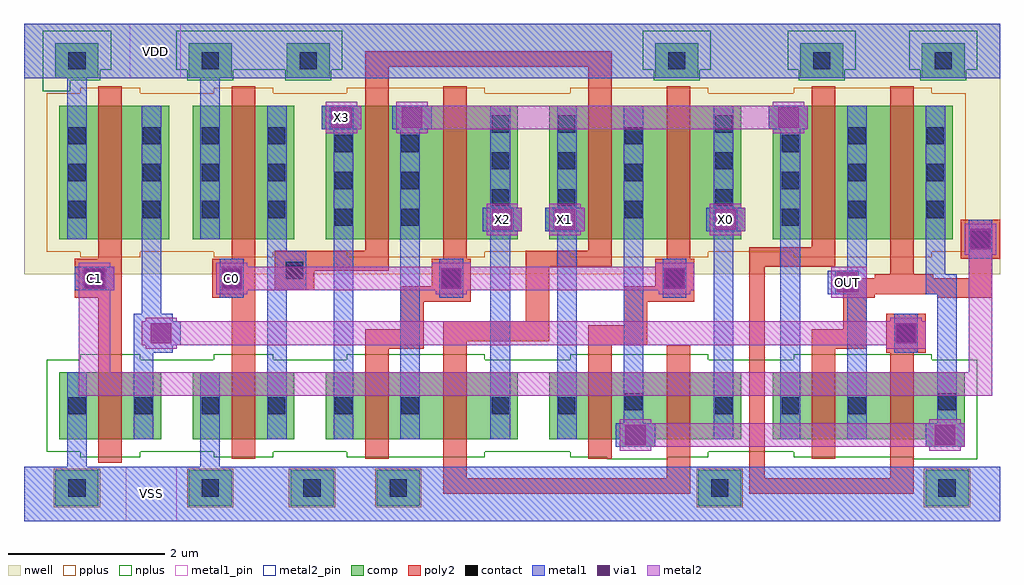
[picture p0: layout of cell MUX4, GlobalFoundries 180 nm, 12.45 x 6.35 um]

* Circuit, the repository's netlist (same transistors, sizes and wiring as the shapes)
* NGSPICE file created from MUX4.ext - technology: gf180mcuC

.subckt MUX4 OUT X0 X1 X3 X2 C1 C0 VDD VSS
X0 a_1160_210# C1 OUT VDD pfet_03v3 ad=0.85p pd=4.4u as=0.595p ps=2.4u w=1.7u l=0.3u
X1 X2 a_250_210# a_590_210# VSS nfet_03v3 ad=0.5525p pd=3u as=0.2975p ps=1.55u w=0.85u l=0.3u
X2 X0 a_250_210# a_1160_210# VSS nfet_03v3 ad=0.5525p pd=3u as=0.32p ps=1.65u w=0.85u l=0.3u
X3 X2 C0 a_590_210# VDD pfet_03v3 ad=1.12p pd=4.8u as=0.595p ps=2.4u w=1.7u l=0.3u
X4 a_n90_210# C1 VSS VSS nfet_03v3 ad=0.425p pd=2.7u as=0.425p ps=2.7u w=0.85u l=0.3u
X5 X0 C0 a_1160_210# VDD pfet_03v3 ad=1.12p pd=4.8u as=0.595p ps=2.4u w=1.7u l=0.3u
X6 a_250_210# C0 VSS VSS nfet_03v3 ad=0.425p pd=2.7u as=0.425p ps=2.7u w=0.85u l=0.3u
X7 OUT C1 a_590_210# VSS nfet_03v3 ad=0.2975p pd=1.55u as=0.425p ps=2.7u w=0.85u l=0.3u
X8 a_n90_210# C1 VDD VDD pfet_03v3 ad=1.02p pd=4.6u as=0.85p ps=4.4u w=1.7u l=0.3u
X9 a_250_210# C0 VDD VDD pfet_03v3 ad=0.85p pd=4.4u as=0.85p ps=4.4u w=1.7u l=0.3u
X10 OUT a_n90_210# a_590_210# VDD pfet_03v3 ad=0.595p pd=2.4u as=0.865p ps=4.5u w=1.7u l=0.3u
X11 a_590_210# C0 X3 VSS nfet_03v3 ad=0.2975p pd=1.55u as=0.425p ps=2.7u w=0.85u l=0.3u
X12 a_1160_210# C0 X1 VSS nfet_03v3 ad=0.32p pd=1.65u as=0.425p ps=2.7u w=0.85u l=0.3u
X13 a_590_210# a_250_210# X3 VDD pfet_03v3 ad=0.595p pd=2.4u as=0.865p ps=4.5u w=1.7u l=0.3u
X14 a_1160_210# a_n90_210# OUT VSS nfet_03v3 ad=0.6025p pd=3.2u as=0.2975p ps=1.55u w=0.85u l=0.3u
X15 a_1160_210# a_250_210# X1 VDD pfet_03v3 ad=0.595p pd=2.4u as=0.865p ps=4.5u w=1.7u l=0.3u
.ends

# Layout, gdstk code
import gdstk
lib = gdstk.Library(unit=1e-6, precision=1e-09)
def R(c, l, rs):  # rectangles x0, y0, x1, y1
    for r in rs: c.add(gdstk.rectangle(r[:2], r[2:], *l))
def A(c, l, x, y, w, h, nx, ny, dx, dy):  # array of equal rectangles
    R(c, l, [(x+i*dx, y+j*dy, x+i*dx+w, y+j*dy+h) for i in range(nx) for j in range(ny)])
nwell = (21, 0)
comp = (22, 0)
poly2 = (30, 0)
pplus = (31, 0)
nplus = (32, 0)
contact = (33, 0)
metal1 = (34, 0)
metal1_pin = (34, 10)
via1 = (35, 0)
metal2 = (36, 0)
metal2_pin = (36, 10)

mux4 = lib.new_cell('MUX4')
R(mux4, nwell, [(-1.7,3.15,10.75,6.35)])
A(mux4, comp, 2.15, 1.05, 2.45, 0.85, 3, 1, 2.85, 0)
R(mux4, comp, [(-1.3,0.2,-0.75,0.65), (0.4,0.2,0.95,0.65), (1.7,0.2,2.25,0.65), (2.8,0.2,3.35,0.65), (6.9,0.2,7.45,0.65), (9.8,0.2,10.35,0.65), (5.9,0.95,6.35,1.05), (9.8,0.95,10.3,1.05), (-1.25,1.05,0.05,1.9), (0.45,1.05,1.75,1.9), (-1.25,3.6,0.15,5.3), (0.45,3.6,1.75,5.3), (2.15,3.6,4.6,3.7), (5,3.6,7.45,3.7), (7.85,3.6,10.15,5), (2.15,3.7,4.65,4), (4.95,3.7,7.5,4), (2.15,4,4.6,5), (5,4,7.45,5.3), (2.1,5,4.6,5.3), (7.8,5,10.15,5.3), (-1.3,5.65,-0.75,6.1), (0.4,5.65,0.95,6.1), (1.65,5.65,2.2,6.1), (6.35,5.65,6.9,6.1), (8.2,5.65,8.75,6.1), (9.75,5.65,10.3,6.1)])
R(mux4, poly2, [(3.65,0.35,6.8,0.55), (7.55,0.35,9.65,0.55), (3.65,0.55,3.95,2.3), (6.5,0.55,6.8,2.25), (7.55,0.55,7.75,3.25), (9.35,0.55,9.65,2.15), (-0.75,0.75,-0.45,2.85), (0.95,0.8,1.25,2.85), (2.65,0.8,2.95,2.2), (5.5,0.8,5.8,2.25), (8.35,0.8,8.65,2.2), (9.3,2.15,9.8,2.65), (2.65,2.2,3.4,2.45), (8.35,2.2,9.05,2.45), (5.5,2.25,6.25,2.5), (3.65,2.3,5,2.55), (3.1,2.45,3.4,2.8), (8.75,2.45,9.05,2.85), (5.95,2.5,6.25,2.8), (4.7,2.55,5,3.25), (3.1,2.8,4,3), (5.95,2.8,6.85,3), (-1.05,2.85,-0.45,3.35), (0.7,2.85,1.25,3.35), (8.75,2.85,9.15,2.9), (9.95,2.85,10.65,2.9), (8.75,2.9,10.65,3), (1.5,2.95,2,3.2), (3.5,3,4,3.35), (6.35,3,6.85,3.35), (8.8,3,10.65,3.05), (8.9,3.05,10.65,3.1), (9.15,3.1,9.9,3.15), (10.35,3.1,10.65,3.35), (9.35,3.15,9.65,5.55), (1.5,3.2,2.95,3.45), (4.7,3.25,5.8,3.45), (7.55,3.25,8.65,3.5), (-0.75,3.35,-0.45,5.55), (0.95,3.35,1.25,5.55), (3.65,3.35,3.95,5.55), (6.5,3.35,6.8,5.55), (10.25,3.35,10.75,3.85), (2.65,3.45,2.95,5.8), (5.5,3.45,5.8,5.8), (8.35,3.5,8.65,5.55), (2.65,5.8,5.8,6)])
A(mux4, pplus, 2.42, 3.37, 1.76, 0.07, 3, 2, 2.85, 2.09)
R(mux4, pplus, [(-1.32,0.18,-0.73,0.67), (0.38,0.18,0.97,0.67), (1.68,0.18,2.27,0.67), (2.78,0.18,3.37,0.67), (6.88,0.18,7.47,0.67), (9.78,0.18,10.37,0.67), (-0.98,3.37,-0.22,3.44), (0.72,3.37,1.48,3.44), (-1.41,3.44,10.31,5.46), (-0.98,5.46,-0.22,5.53), (0.72,5.46,1.48,5.53)])
A(mux4, nplus, 2.42, 2.06, 1.76, 0.07, 3, 1, 2.85, 0)
R(mux4, nplus, [(5.74,0.79,6.51,0.82), (9.64,0.79,10.46,0.82), (-0.98,0.82,-0.22,0.89), (0.72,0.82,1.48,0.89), (2.42,0.82,4.18,0.89), (5.27,0.82,7.03,0.89), (8.12,0.82,10.46,0.89), (-1.41,0.89,10.46,2.06), (-0.98,2.06,-0.22,2.13), (0.72,2.06,1.48,2.13), (-1.46,5.49,-1.11,5.63), (-1.46,5.63,-0.73,5.76), (0.38,5.63,0.97,5.76), (1.63,5.63,2.22,5.76), (6.33,5.63,6.92,5.76), (8.18,5.63,8.77,5.76), (9.73,5.63,10.32,5.76), (-1.46,5.76,-0.59,6.26), (0.24,5.76,2.36,6.26), (6.19,5.76,7.06,6.26), (8.04,5.76,8.91,6.26), (9.59,5.76,10.46,6.26)])
A(mux4, contact, -1.135, 1.365, 0.22, 0.22, 6, 1, 0.85, 0)
A(mux4, contact, 7.115, 1.365, 0.22, 0.22, 3, 1, 0.85, 0)
A(mux4, contact, 2.265, 3.77, 0.22, 0.22, 1, 3, 0, 0.47)
A(mux4, contact, 3.115, 3.77, 0.22, 0.22, 1, 3, 0, 0.47)
A(mux4, contact, 7.965, 3.77, 0.22, 0.22, 1, 3, 0, 0.47)
A(mux4, contact, -1.135, 3.87, 0.22, 0.22, 1, 3, 0, 0.47)
A(mux4, contact, -0.185, 3.87, 0.22, 0.22, 1, 3, 0, 0.47)
A(mux4, contact, 0.565, 3.87, 0.22, 0.22, 1, 3, 0, 0.47)
A(mux4, contact, 1.415, 3.87, 0.22, 0.22, 1, 3, 0, 0.47)
A(mux4, contact, 5.965, 3.87, 0.22, 0.22, 1, 3, 0, 0.47)
A(mux4, contact, 8.815, 3.87, 0.22, 0.22, 1, 3, 0, 0.47)
A(mux4, contact, 9.815, 3.87, 0.22, 0.22, 1, 3, 0, 0.47)
A(mux4, contact, 4.265, 4.02, 0.22, 0.22, 1, 3, 0, 0.47)
A(mux4, contact, 5.115, 4.02, 0.22, 0.22, 1, 3, 0, 0.47)
A(mux4, contact, 7.115, 4.02, 0.22, 0.22, 1, 3, 0, 0.47)
R(mux4, contact, [(-1.135,0.315,-0.915,0.535), (0.565,0.315,0.785,0.535), (1.865,0.315,2.085,0.535), (2.965,0.315,3.185,0.535), (7.065,0.315,7.285,0.535), (9.965,0.315,10.185,0.535), (4.265,1.365,4.485,1.585), (5.115,1.365,5.335,1.585), (5.965,1.415,6.185,1.635), (9.965,1.415,10.185,1.635), (9.44,2.29,9.66,2.51), (-0.91,2.99,-0.69,3.21), (0.84,2.99,1.06,3.21), (3.64,2.99,3.86,3.21), (6.49,2.99,6.71,3.21), (1.64,3.09,1.86,3.31), (10.39,3.49,10.61,3.71), (-1.135,5.765,-0.915,5.985), (0.565,5.765,0.785,5.985), (1.815,5.765,2.035,5.985), (6.515,5.765,6.735,5.985), (8.365,5.765,8.585,5.985), (9.915,5.765,10.135,5.985)])
R(mux4, metal1, [(-1.7,0,10.75,0.7), (-1.15,0.7,-0.9,1.9), (0.55,0.7,0.8,1.9), (5.85,0.95,6.35,1.25), (9.8,0.95,10.3,1.25), (-0.3,1.05,-0.05,2.15), (1.4,1.05,1.65,2.95), (2.25,1.05,2.5,5), (3.1,1.05,3.35,5), (4.25,1.05,4.5,3.7), (5.1,1.05,5.35,3.7), (7.1,1.05,7.35,3.7), (7.95,1.05,8.2,5), (8.8,1.05,9.05,2.9), (5.95,1.25,6.2,5.3), (9.95,1.25,10.2,2.9), (-0.3,2.15,0.2,2.25), (9.4,2.15,9.7,2.65), (-0.3,2.25,0.3,2.55), (-0.3,2.55,0.2,2.65), (-0.2,2.65,0.05,5.3), (0.8,2.85,1.1,3.35), (3.6,2.85,3.9,3.35), (6.45,2.85,6.75,3.35), (8.55,2.9,9.05,3.2), (9.8,2.9,10.2,3.15), (-1.05,2.95,-0.55,3.25), (1.4,2.95,1.9,3.45), (9.8,3.15,10.05,5.3), (8.8,3.2,9.05,5.3), (10.35,3.35,10.65,3.85), (1.4,3.45,1.65,5.3), (-1.15,3.6,-0.9,5.65), (0.55,3.6,0.8,5.65), (4.15,3.7,4.65,4), (4.95,3.7,5.45,4), (7,3.7,7.5,4), (4.25,4,4.5,5.3), (5.1,4,5.35,5.3), (7.1,4,7.35,5.3), (2.1,5,2.6,5.3), (3,5,3.5,5.3), (7.8,5,8.3,5.3), (-1.7,5.65,10.75,6.35)])
R(mux4, metal1_pin, [(-0.4,0,0.25,0.7), (-0.35,5.65,0.3,6.35)])
R(mux4, via1, [(5.97,0.97,6.23,1.23), (9.92,0.97,10.18,1.23), (-0.08,2.27,0.18,2.53), (9.42,2.27,9.68,2.53), (8.67,2.92,8.93,3.18), (-0.93,2.97,-0.67,3.23), (0.82,2.97,1.08,3.23), (3.62,2.97,3.88,3.23), (6.47,2.97,6.73,3.23), (10.37,3.47,10.63,3.73), (4.27,3.72,4.53,3.98), (5.07,3.72,5.33,3.98), (7.12,3.72,7.38,3.98), (2.22,5.02,2.48,5.28), (3.12,5.02,3.38,5.28), (7.92,5.02,8.18,5.28)])
R(mux4, metal2, [(5.9,0.9,6.3,0.95), (9.85,0.9,10.25,0.95), (5.9,0.95,10.3,1.25), (5.9,1.25,6.3,1.3), (9.85,1.25,10.25,1.3), (-1,1.6,10.65,1.9), (-1,1.9,-0.6,2.95), (10.35,1.9,10.65,3.4), (-0.15,2.2,0.25,2.25), (9.3,2.2,9.8,2.25), (-0.2,2.25,9.8,2.55), (-0.15,2.55,0.25,2.6), (9.35,2.55,9.75,2.6), (8.6,2.85,9.05,3.25), (0.75,2.9,1.15,2.95), (3.55,2.9,3.95,2.95), (6.4,2.9,6.8,2.95), (-1,2.95,-0.55,3.25), (0.75,2.95,6.85,3.25), (-1,3.25,-0.6,3.3), (0.75,3.25,1.15,3.3), (3.5,3.25,4,3.3), (6.35,3.25,6.85,3.3), (10.3,3.4,10.7,3.8), (4.2,3.65,4.6,3.7), (5,3.65,5.4,3.7), (7.05,3.65,7.45,3.7), (4.2,3.7,4.65,4), (5,3.7,5.45,4), (7.05,3.7,7.5,4), (4.2,4,4.6,4.05), (5,4,5.4,4.05), (7.05,4,7.45,4.05), (2.15,4.95,2.55,5), (3.05,4.95,3.45,5), (7.85,4.95,8.25,5), (2.15,5,2.6,5.3), (3.05,5,8.3,5.3), (2.15,5.3,2.55,5.35), (3.05,5.3,3.45,5.35), (7.85,5.3,8.25,5.35)])
R(mux4, metal2_pin, [(8.65,2.9,8.95,3.2), (-0.95,2.95,-0.65,3.25), (0.8,2.95,1.1,3.25), (4.25,3.7,4.55,4), (5.05,3.7,5.35,4), (7.1,3.7,7.4,4), (2.2,5,2.5,5.3)])
mux4.add(gdstk.Label('OUT', (8.8,3.05), layer=36, texttype=10))
mux4.add(gdstk.Label('X0', (7.25,3.85), layer=36, texttype=10))
mux4.add(gdstk.Label('X1', (5.2,3.85), layer=36, texttype=10))
mux4.add(gdstk.Label('X3', (2.35,5.15), layer=36, texttype=10))
mux4.add(gdstk.Label('X2', (4.4,3.85), layer=36, texttype=10))
mux4.add(gdstk.Label('C1', (-0.8,3.1), layer=36, texttype=10))
mux4.add(gdstk.Label('C0', (0.95,3.1), layer=36, texttype=10))
mux4.add(gdstk.Label('VDD', (-0.025,6), layer=34, texttype=10))
mux4.add(gdstk.Label('VSS', (-0.075,0.35), layer=34, texttype=10))

lib.write_gds('MUX4.gds')
